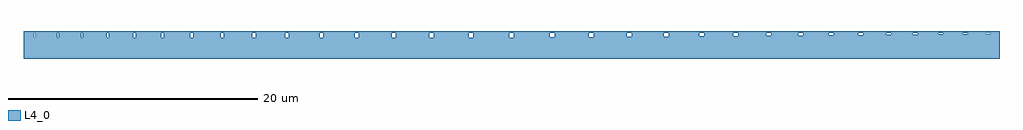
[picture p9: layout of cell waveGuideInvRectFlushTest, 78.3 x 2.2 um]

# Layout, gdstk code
import gdstk
lib = gdstk.Library(unit=1e-6, precision=1e-09)
def P(c, l, *ps):  # polygons
    for p in ps: c.add(gdstk.Polygon(p, *l))
L4_0 = (4, 0)

waveguideinvrectflushtes = lib.new_cell('waveGuideInvRectFlushTest')
P(waveguideinvrectflushtes, L4_0, [(-39.15,-1.1),(-39.15,0.6),(-38.2,0.6),(-38.2,1),(-38.3,1),(-38.3,0.6),(-39.15,0.6),(-39.15,1.1),(-37.35,1.1),(-37.35,-1.1)],
  [(-37.35,-1.1),(-37.35,0.6),(-36.34,0.6),(-36.34,1),(-36.46,1),(-36.46,0.6),(-37.35,0.6),(-37.35,1.1),(-35.45,1.1),(-35.45,-1.1)],
  [(-35.45,-1.1),(-35.45,0.6),(-34.38,0.6),(-34.38,1),(-34.52,1),(-34.52,0.6),(-35.45,0.6),(-35.45,1.1),(-33.45,1.1),(-33.45,-1.1)],
  [(-33.45,-1.1),(-33.45,0.6),(-32.32,0.6),(-32.32,1),(-32.48,1),(-32.48,0.6),(-33.45,0.6),(-33.45,1.1),(-31.35,1.1),(-31.35,-1.1)],
  [(-31.35,-1.1),(-31.35,0.6),(-30.16,0.6),(-30.16,1),(-30.34,1),(-30.34,0.6),(-31.35,0.6),(-31.35,1.1),(-29.15,1.1),(-29.15,-1.1)],
  [(-29.15,-1.1),(-29.15,0.6),(-27.9,0.6),(-27.9,1),(-28.1,1),(-28.1,0.6),(-29.15,0.6),(-29.15,1.1),(-26.85,1.1),(-26.85,-1.1)],
  [(-26.85,-1.1),(-26.85,0.6),(-25.54,0.6),(-25.54,1),(-25.76,1),(-25.76,0.6),(-26.85,0.6),(-26.85,1.1),(-24.45,1.1),(-24.45,-1.1)],
  [(-24.45,-1.1),(-24.45,0.6),(-23.08,0.6),(-23.08,1),(-23.32,1),(-23.32,0.6),(-24.45,0.6),(-24.45,1.1),(-21.95,1.1),(-21.95,-1.1)],
  [(-21.95,-1.1),(-21.95,0.6),(-20.52,0.6),(-20.52,1),(-20.78,1),(-20.78,0.6),(-21.95,0.6),(-21.95,1.1),(-19.35,1.1),(-19.35,-1.1)],
  [(-19.35,-1.1),(-19.35,0.6),(-17.86,0.6),(-17.86,1),(-18.14,1),(-18.14,0.6),(-19.35,0.6),(-19.35,1.1),(-16.65,1.1),(-16.65,-1.1)],
  [(-16.65,-1.1),(-16.65,0.6),(-15.1,0.6),(-15.1,1),(-15.4,1),(-15.4,0.6),(-16.65,0.6),(-16.65,1.1),(-13.85,1.1),(-13.85,-1.1)],
  [(-13.85,-1.1),(-13.85,0.6),(-12.24,0.6),(-12.24,1),(-12.56,1),(-12.56,0.6),(-13.85,0.6),(-13.85,1.1),(-10.95,1.1),(-10.95,-1.1)],
  [(-10.95,-1.1),(-10.95,0.6),(-9.28,0.6),(-9.28,1),(-9.62,1),(-9.62,0.6),(-10.95,0.6),(-10.95,1.1),(-7.95,1.1),(-7.95,-1.1)],
  [(-7.95,-1.1),(-7.95,0.6),(-6.22,0.6),(-6.22,1),(-6.58,1),(-6.58,0.6),(-7.95,0.6),(-7.95,1.1),(-4.85,1.1),(-4.85,-1.1)],
  [(-4.85,-1.1),(-4.85,0.6),(-3.06,0.6),(-3.06,1),(-3.44,1),(-3.44,0.6),(-4.85,0.6),(-4.85,1.1),(-1.65,1.1),(-1.65,-1.1)],
  [(-1.65,-1.1),(-1.65,0.6),(0.2,0.6),(0.2,1),(-0.2,1),(-0.2,0.6),(-1.65,0.6),(-1.65,1.1),(1.65,1.1),(1.65,-1.1)],
  [(1.65,-1.1),(1.65,0.62),(3.45,0.62),(3.45,1),(3.05,1),(3.05,0.62),(1.65,0.62),(1.65,1.1),(4.85,1.1),(4.85,-1.1)],
  [(4.85,-1.1),(4.85,0.64),(6.6,0.64),(6.6,1),(6.2,1),(6.2,0.64),(4.85,0.64),(4.85,1.1),(7.95,1.1),(7.95,-1.1)],
  [(7.95,-1.1),(7.95,0.66),(9.65,0.66),(9.65,1),(9.25,1),(9.25,0.66),(7.95,0.66),(7.95,1.1),(10.95,1.1),(10.95,-1.1)],
  [(10.95,-1.1),(10.95,0.68),(12.6,0.68),(12.6,1),(12.2,1),(12.2,0.68),(10.95,0.68),(10.95,1.1),(13.85,1.1),(13.85,-1.1)],
  [(13.85,-1.1),(13.85,0.7),(15.45,0.7),(15.45,1),(15.05,1),(15.05,0.7),(13.85,0.7),(13.85,1.1),(16.65,1.1),(16.65,-1.1)],
  [(16.65,-1.1),(16.65,0.72),(18.2,0.72),(18.2,1),(17.8,1),(17.8,0.72),(16.65,0.72),(16.65,1.1),(19.35,1.1),(19.35,-1.1)],
  [(19.35,-1.1),(19.35,0.74),(20.85,0.74),(20.85,1),(20.45,1),(20.45,0.74),(19.35,0.74),(19.35,1.1),(21.95,1.1),(21.95,-1.1)],
  [(21.95,-1.1),(21.95,0.76),(23.4,0.76),(23.4,1),(23,1),(23,0.76),(21.95,0.76),(21.95,1.1),(24.45,1.1),(24.45,-1.1)],
  [(24.45,-1.1),(24.45,0.78),(25.85,0.78),(25.85,1),(25.45,1),(25.45,0.78),(24.45,0.78),(24.45,1.1),(26.85,1.1),(26.85,-1.1)],
  [(26.85,-1.1),(26.85,0.8),(28.2,0.8),(28.2,1),(27.8,1),(27.8,0.8),(26.85,0.8),(26.85,1.1),(29.15,1.1),(29.15,-1.1)],
  [(29.15,-1.1),(29.15,0.82),(30.45,0.82),(30.45,1),(30.05,1),(30.05,0.82),(29.15,0.82),(29.15,1.1),(31.35,1.1),(31.35,-1.1)],
  [(31.35,-1.1),(31.35,0.84),(32.6,0.84),(32.6,1),(32.2,1),(32.2,0.84),(31.35,0.84),(31.35,1.1),(33.45,1.1),(33.45,-1.1)],
  [(33.45,-1.1),(33.45,0.86),(34.65,0.86),(34.65,1),(34.25,1),(34.25,0.86),(33.45,0.86),(33.45,1.1),(35.45,1.1),(35.45,-1.1)],
  [(35.45,-1.1),(35.45,0.88),(36.6,0.88),(36.6,1),(36.2,1),(36.2,0.88),(35.45,0.88),(35.45,1.1),(37.35,1.1),(37.35,-1.1)],
  [(37.35,-1.1),(37.35,0.9),(38.45,0.9),(38.45,1),(38.05,1),(38.05,0.9),(37.35,0.9),(37.35,1.1),(39.15,1.1),(39.15,-1.1)])

lib.write_gds('waveGuideInvRectFlushTest.gds')
